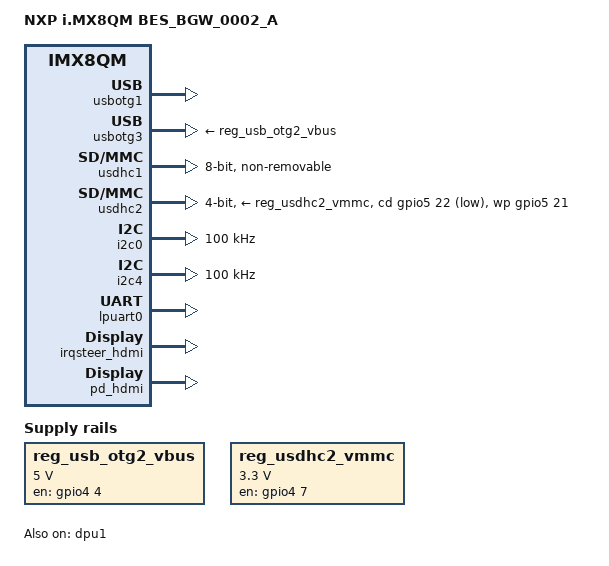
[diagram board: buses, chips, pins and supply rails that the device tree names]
// SPDX-License-Identifier: GPL-2.0+
/*
 * Copyright 2017-2018 NXP
 */

/dts-v1/;

#include "fsl-imx8qm.dtsi"

/ {
	model = "NXP i.MX8QM BES_BGW_0002_A";
	compatible = "fsl,imx8qm-BES_BGW_0002_A", "fsl,imx8qm";

//	aliases {
//		gpio8 = &max7322;
//	};

	chosen {
		bootargs = "console=ttyLP0,115200 earlycon";
		stdout-path = &lpuart0;
	};

//	alias {
//		gpio8 = <&gpio7>;
//	};
  //      leds {
//                compatible = "gpio-leds";
//                pinctrl-names = "default";
//                pinctrl-0 = <&pinctrl_led0>;
//                pinctrl-1 = <&pinctrl_led1>;
//                led0 {
//			vcc-supply = <&pinctrl_v38>;
//                        label = "led0";
 //                       gpios = <&gpio2 14 GPIO_ACTIVE_HIGH>;
//                        linux,default-trigger = "heartbeat";
//                        default-state = "on";
//                };
//                led1 {
//                        label = "led1";
//                        gpios = <&gpio2 15 GPIO_ACTIVE_HIGH>;
//                        default-state = "on";
//                };
//                cell_led {
//                        label = "cell_led";
//                        gpios = <&gpio2 17 GPIO_ACTIVE_HIGH>;
//                        default-state = "off";
//                };
//                wifi_led {
//                        label = "wifi_led";
//                        gpios = <&gpio2 19 GPIO_ACTIVE_HIGH>;
//                        default-state = "off";
//                        linux,default-trigger = "mmc2";
//                };
//                ble_led {
//                        label = "ble_led";
//                        gpios = <&gpio2 20 GPIO_ACTIVE_HIGH>;
//                        default-state = "off";
//                };
//                gps_led {
//                        label = "gps_led";
//                        gpios = <&gpio2 18 GPIO_ACTIVE_HIGH>;
//                        default-state = "off";
//                };
//                cell_reset {
//                        label = "cell_reset";
//                        gpios = <&gpio0 9 GPIO_ACTIVE_HIGH>;
//                        default-state = "on";
//                };
//       };
//
//	gpio {
//		compatible = "fsl,imx35-gpio";
//		gpio-controller;
//		#gpio-cells = <2>;
//		pinctrl-names = "default";
//		pinctrl-0 = <&pinctrl_hog>;
//		v5_0_per{
//			label = "V5_0_per";
//			enable-gpios = <&gpio2 24 GPIO_ACTIVE_HIGH>;
//			default-state = "on";
//			output-high;
//		};
//		v3_8_per{
//			label = "V3_8_per";
//			enable-gpios = <&gpio2 25 GPIO_ACTIVE_HIGH>;
//			default-state = "on";
//			output-high;
//		};
//		v3_3_per{
//			label = "V3_3_per";
//			enable-gpios = <&gpio2 26 GPIO_ACTIVE_HIGH>;
//			default-state = "on";
//			output-high;
//		};
//		wifi_vio_en{
//			label = "wifi_vio_en";
//			enable-gpios = <&gpio2 27 GPIO_ACTIVE_HIGH>;
//			default-state = "on";
//			output-high;
//		};
//		wifi_1v8_en{
//			label = "wifi_1v8_en";
//			enable-gpios = <&gpio2 28 GPIO_ACTIVE_HIGH>;
//			default-state = "on";
//			output-high;
//		};
//		wifi_vbat_en{
//			label = "wifi_vbat_en";
//			enable-gpios = <&gpio2 29 GPIO_ACTIVE_HIGH>;
//			default-state = "on";
//			output-high;
//		};
//		wifi_pdn{
//			label = "wifi_pdn";
//			enable-gpios = <&gpio2 06 GPIO_ACTIVE_HIGH>;
////			default-state = "on";
//			default-state = "off";
//			output-high;
//		};
//	};

	regulators {
		compatible = "simple-bus";
		#address-cells = <1>;
		#size-cells = <0>;

		reg_usb_otg2_vbus: regulator@0 {
			compatible = "regulator-fixed";
			reg = <0>;
			regulator-name = "usb_otg2_vbus";
			regulator-min-microvolt = <5000000>;
			regulator-max-microvolt = <5000000>;
			gpio = <&gpio4 4 GPIO_ACTIVE_HIGH>;
			enable-active-high;
		};

		reg_usdhc2_vmmc: usdhc2_vmmc {
			compatible = "regulator-fixed";
			regulator-name = "sw-3p3-sd1";
			regulator-min-microvolt = <3300000>;
			regulator-max-microvolt = <3300000>;
			gpio = <&gpio4 7 GPIO_ACTIVE_HIGH>;
			off-on-delay-us = <4800>;
			enable-active-high;
		};
	};
};

&iomuxc {
	pinctrl-names = "default";
	pinctrl-0 = <&pinctrl_hog>;

	imx8qm-BES_BGW_0002_A {
		pinctrl_hog: hoggrp{
			fsl,pins = <
				SC_P_M40_GPIO0_01_LSIO_GPIO0_IO09           0x00000020 /* CELL_RESET_3V3 */
				SC_P_USB_SS3_TC0_LSIO_GPIO4_IO03	0x06000048
				SC_P_LVDS0_I2C0_SCL_LSIO_GPIO1_IO06	0x06000021
				SC_P_LVDS0_I2C0_SDA_LSIO_GPIO1_IO07	0x06000021
				SC_P_QSPI1A_SS1_B_LSIO_GPIO4_IO20	0x06000021
				SC_P_QSPI1A_DATA2_LSIO_GPIO4_IO24	0x06000021
				SC_P_QSPI1A_DATA3_LSIO_GPIO4_IO23	0x06000021
				SC_P_ESAI0_SCKR_LSIO_GPIO2_IO24         0x00000060
				SC_P_ESAI0_SCKT_LSIO_GPIO2_IO25         0x00000060
				SC_P_ESAI0_TX0_LSIO_GPIO2_IO26          0x00000060
			>;
		};

		pinctrl_adc: adcgrp {
			fsl,pins = <
				SC_P_ADC_IN0_DMA_ADC0_IN0               0xc0000060
				SC_P_ADC_IN1_DMA_ADC0_IN1               0xc0000060
				SC_P_ADC_IN2_DMA_ADC0_IN2               0xc0000060
				SC_P_ADC_IN3_DMA_ADC0_IN3               0xc0000060
				SC_P_ADC_IN4_DMA_ADC1_IN0               0xc0000060
				SC_P_ADC_IN5_DMA_ADC1_IN1               0xc0000060
				SC_P_ADC_IN6_DMA_ADC1_IN2               0xc0000060
				SC_P_ADC_IN7_DMA_ADC1_IN3		0xc0000060
			>;
		};

		pinctrl_gpio0: gpio0 {
			fsl,pins = <
				SC_P_GPT0_CAPTURE_LSIO_GPIO0_IO15		0x00000060 /* CELL_DSR_MPU */
				SC_P_GPT0_CLK_LSIO_GPIO0_IO14               0x00000060 /* CELL_ON */
				SC_P_GPT0_COMPARE_LSIO_GPIO0_IO16           0x00000060 /* CELL_RI_MPU */
				SC_P_GPT1_CAPTURE_LSIO_GPIO0_IO18           0x00000060 /* CELL_DTR_MPU */
				SC_P_GPT1_CLK_LSIO_GPIO0_IO17               0x00000060 /* CELL_DCD_MPU */
				SC_P_GPT1_COMPARE_LSIO_GPIO0_IO19           0x00000060 /* FAN_PWM */
				SC_P_M40_GPIO0_00_LSIO_GPIO0_IO08           0x00000060 /* CELL_PWR_ON_3V3 */
//				SC_P_M40_GPIO0_01_LSIO_GPIO0_IO09           0x00000020 /* CELL_RESET_3V3 */
//				SC_P_SCU_GPIO0_00_LSIO_GPIO0_IO28           0x00000063 /* PMIC1_PGOOD */
//				SC_P_SCU_GPIO0_01_LSIO_GPIO0_IO29           0x00000063 /* PMIC2_PGOOD */
//				SC_P_SCU_GPIO0_02_LSIO_GPIO0_IO30           0x00000063 /* BOOT_LED */
			>;
        	};

	        pinctrl_gpio1: gpio1 {
			fsl,pins = <
                		SC_P_SCU_GPIO0_04_LSIO_GPIO1_IO00           0x00000063 /* PMIC_ON */
			>;
        	};

		pinctrl_led0: led0grp{
			fsl,pins = <
				SC_P_SPDIF0_RX_LSIO_GPIO2_IO14              0x00000060
			>;
		};

		pinctrl_led1: led1grp{
			fsl,pins = <
				SC_P_SPDIF0_TX_LSIO_GPIO2_IO15              0x00000060
			>;
		};

//	        pinctrl_v50: v50grp{
//			fsl,pins = <
//				SC_P_ESAI0_SCKR_LSIO_GPIO2_IO24             0x00000060
//			>;
//		};
//
//	        pinctrl_v38: v38grp{
//			fsl,pins = <
//				SC_P_ESAI0_SCKT_LSIO_GPIO2_IO25             0x00000060
//			>;
//		};
//
//	        pinctrl_v33: v33grp{
//			fsl,pins = <
//				SC_P_ESAI0_TX0_LSIO_GPIO2_IO26              0x00000060
//			>;
//		};
//
	        pinctrl_gpio2: gpio2 {
			fsl,pins = <
	                	SC_P_SPDIF0_RX_LSIO_GPIO2_IO14              0x00000040
			        SC_P_SPDIF0_TX_LSIO_GPIO2_IO15              0x00000040
        	        	SC_P_SPI3_CS0_LSIO_GPIO2_IO20               0x00000040
	                	SC_P_SPI3_SCK_LSIO_GPIO2_IO17               0x00000040
		                SC_P_SPI3_SDI_LSIO_GPIO2_IO19               0x00000040
        		        SC_P_SPI3_SDO_LSIO_GPIO2_IO18               0x00000040
	                	SC_P_ESAI0_FSR_LSIO_GPIO2_IO22              0x00000060
		                SC_P_ESAI0_FST_LSIO_GPIO2_IO23              0x00000060
//        		        SC_P_ESAI0_SCKR_LSIO_GPIO2_IO24             0x00000060
//	                	SC_P_ESAI0_SCKT_LSIO_GPIO2_IO25             0x00000060
//		                SC_P_ESAI0_TX0_LSIO_GPIO2_IO26              0x00000060
        		        SC_P_ESAI0_TX1_LSIO_GPIO2_IO27              0x00000060
	                	SC_P_ESAI0_TX2_RX3_LSIO_GPIO2_IO28          0x00000060
		                SC_P_ESAI0_TX3_RX2_LSIO_GPIO2_IO29          0x00000060
        		        SC_P_ESAI0_TX5_RX0_LSIO_GPIO2_IO31          0x00000060
	                	SC_P_ESAI1_FSR_LSIO_GPIO2_IO04              0x00000060
		                SC_P_ESAI1_FST_LSIO_GPIO2_IO05              0x00000060
        		        SC_P_ESAI1_SCKR_LSIO_GPIO2_IO06             0x00000060
	                	SC_P_ESAI1_SCKT_LSIO_GPIO2_IO07             0x00000060
		                SC_P_ESAI1_TX0_LSIO_GPIO2_IO08              0x00000060
        		        SC_P_ESAI1_TX1_LSIO_GPIO2_IO09              0x00000060
	                	SC_P_ESAI1_TX2_RX3_LSIO_GPIO2_IO10          0x00000060
			>;
        	};

	        pinctrl_gpio3: gpio3 {
        	    fsl,pins = <
                	SC_P_MCLK_OUT0_LSIO_GPIO3_IO01              0x00000060
	            >;
        	};

	        pinctrl_gpio4: gpio4 {
        	    fsl,pins = <
                	SC_P_ENET1_MDC_LSIO_GPIO4_IO18              0x00000060
	                SC_P_ENET1_MDIO_LSIO_GPIO4_IO17             0x00000060
        	    >;
	        };

		pinctrl_gnss_reset: gnssresetgrp {
		    fsl,pins = <
   			    SC_P_ESAI0_FST_LSIO_GPIO2_IO23              0x00000060
		    >;
 		};

		pinctrl_gnss_dir: gnssdirgrp {
		    fsl,pins = <
			    SC_P_ESAI0_FSR_LSIO_GPIO2_IO22              0x00000060
		    >;
		};

	        pinctrl_flexcan1: flexcan1grp {
        	    fsl,pins = <
                	SC_P_FLEXCAN0_RX_DMA_FLEXCAN0_RX            0x00000021
	                SC_P_FLEXCAN0_TX_DMA_FLEXCAN0_TX            0x00000021
        	        SC_P_FLEXCAN2_TX_LSIO_GPIO4_IO02            0x00000040
	            >;
        	};

	        pinctrl_flexcan2: flexcan2grp {
        	    fsl,pins = <
                	SC_P_FLEXCAN1_RX_DMA_FLEXCAN1_RX            0x00000021
	                SC_P_FLEXCAN1_TX_DMA_FLEXCAN1_TX            0x00000021
        	        SC_P_FLEXCAN2_RX_LSIO_GPIO4_IO01            0x00000040
	            >;
        	};

	        pinctrl_i2c0: i2c0grp {
        	    fsl,pins = <
                	SC_P_HDMI_TX0_TS_SCL_DMA_I2C0_SCL           0x06000021
	                SC_P_HDMI_TX0_TS_SDA_DMA_I2C0_SDA           0x06000021
        	    >;
	        };

        	pinctrl_i2c4: i2c4grp {
	            fsl,pins = <
        	        SC_P_ENET0_MDC_DMA_I2C4_SCL                 0x06000020
                	SC_P_ENET0_MDIO_DMA_I2C4_SDA                0x06000020
	            >;
        	};

	        pinctrl_lpuart0: lpuart0grp {
        	    fsl,pins = <
                	SC_P_UART0_RX_DMA_UART0_RX                  0x06000020
	                SC_P_UART0_TX_DMA_UART0_TX                  0x06000020
        	    >;
	        };

		pinctrl_typec: typecgrp {
        	    fsl,pins = <
	                SC_P_QSPI1A_SS0_B_LSIO_GPIO4_IO19	0x60
        	        SC_P_USB_SS3_TC3_LSIO_GPIO4_IO06	0x60
                	SC_P_QSPI1A_DATA0_LSIO_GPIO4_IO26	0x00000021
	            >;
		};

	        pinctrl_usbotg2: usbotg2 {
        	    fsl,pins = <
                	SC_P_USB_SS3_TC1_CONN_USB_OTG2_PWR
	            >;
        	};

	        pinctrl_lpuart1: lpuart1grp {
        	    fsl,pins = <
                	SC_P_UART1_CTS_B_DMA_UART1_CTS_B            0x06000020
	                SC_P_UART1_RTS_B_DMA_UART1_RTS_B            0x06000020
        	        SC_P_UART1_RX_DMA_UART1_RX                  0x06000020
                	SC_P_UART1_TX_DMA_UART1_TX                  0x06000020
	            >;
        	};

	        pinctrl_bt_uart: bt_uartgrp {
        	    fsl,pins = <
                	SC_P_ENET0_RGMII_RXD3_DMA_UART3_RX          0x00000020
	                SC_P_ENET0_RGMII_TXD2_DMA_UART3_TX          0x00000020
        	        SC_P_ENET0_RGMII_TXD3_DMA_UART3_RTS_B       0x06000020
                	SC_P_ENET0_RGMII_RXC_DMA_UART3_CTS_B        0x06000020
	            >;
        	};

	        pinctrl_usdhc1: usdhc1grp {
        	    fsl,pins = <
                	SC_P_EMMC0_CLK_CONN_EMMC0_CLK               0x06000041
	                SC_P_EMMC0_CMD_CONN_EMMC0_CMD               0x00000021
        	        SC_P_EMMC0_DATA0_CONN_EMMC0_DATA0           0x00000021
                	SC_P_EMMC0_DATA1_CONN_EMMC0_DATA1           0x00000021
	                SC_P_EMMC0_DATA2_CONN_EMMC0_DATA2           0x00000021
        	        SC_P_EMMC0_DATA3_CONN_EMMC0_DATA3           0x00000021
                	SC_P_EMMC0_DATA4_CONN_EMMC0_DATA4           0x00000021
	                SC_P_EMMC0_DATA5_CONN_EMMC0_DATA5           0x00000021
        	        SC_P_EMMC0_DATA6_CONN_EMMC0_DATA6           0x00000021
                	SC_P_EMMC0_DATA7_CONN_EMMC0_DATA7           0x00000021
	                SC_P_EMMC0_RESET_B_CONN_EMMC0_RESET_B       0x00000021
        	        SC_P_EMMC0_STROBE_CONN_EMMC0_STROBE         0x00000041
	            >;	
        	};

	        pinctrl_usdhc2: usdhc2grp {
        	    fsl,pins = <
                	SC_P_USDHC1_CLK_CONN_USDHC1_CLK             0x06000041
	                SC_P_USDHC1_CMD_CONN_USDHC1_CMD             0x00000021
        	        SC_P_USDHC1_DATA0_CONN_USDHC1_DATA0         0x00000021
                	SC_P_USDHC1_DATA1_CONN_USDHC1_DATA1         0x00000021
	                SC_P_USDHC1_DATA2_CONN_USDHC1_DATA2         0x00000021
        	        SC_P_USDHC1_DATA3_CONN_USDHC1_DATA3         0x00000021
                	SC_P_USDHC1_VSELECT_CONN_USDHC1_VSELECT     0x00000021
	            >;
        	};

	        pinctrl_usdhc2_gpio: usdhc2gpiogrp {
        	    fsl,pins = <
                	SC_P_USDHC1_DATA6_LSIO_GPIO5_IO21           0x00000021
	                SC_P_USDHC1_DATA7_LSIO_GPIO5_IO22           0x00000021
        	        SC_P_USDHC1_RESET_B_LSIO_GPIO4_IO07         0x00000021
	            >;
        	};

	        pinctrl_usdhc3: usdhc3grp {
        	    fsl,pins = <
                	SC_P_USDHC2_CLK_CONN_USDHC2_CLK             0x00000040
	                SC_P_USDHC2_CMD_CONN_USDHC2_CMD             0x00000040
        	        SC_P_USDHC2_DATA0_CONN_USDHC2_DATA0         0x00000020
                	SC_P_USDHC2_DATA1_CONN_USDHC2_DATA1         0x00000020
	                SC_P_USDHC2_DATA2_CONN_USDHC2_DATA2         0x00000020
        	        SC_P_USDHC2_DATA3_CONN_USDHC2_DATA3         0x00000020
	            >;
        	};
	};
};

&gpio0 {
	status = "okay";
};

&gpio1 {
	status = "okay";
};

&gpio2 {
	status = "okay";
};

&gpio4 {
	status = "okay";
};

&gpio5 {
	status = "okay";
};

&usbotg1 {
         status = "okay";
};

&usbotg3 {
         vbus-supply = <&reg_usb_otg2_vbus>;
         srp-disable;
         hnp-disable;
         adp-disable;
         disable-over-current;
         status = "okay";
};

&usdhc1 {
	pinctrl-names = "default", "state_100mhz", "state_200mhz";
	pinctrl-0 = <&pinctrl_usdhc1>;
	pinctrl-1 = <&pinctrl_usdhc1>;
	pinctrl-2 = <&pinctrl_usdhc1>;
	bus-width = <8>;
	non-removable;
	status = "okay";
};

&usdhc2 {
	pinctrl-names = "default", "state_100mhz", "state_200mhz";
	pinctrl-0 = <&pinctrl_usdhc2>, <&pinctrl_usdhc2_gpio>;
	pinctrl-1 = <&pinctrl_usdhc2>, <&pinctrl_usdhc2_gpio>;
	pinctrl-2 = <&pinctrl_usdhc2>, <&pinctrl_usdhc2_gpio>;
	bus-width = <4>;
	cd-gpios = <&gpio5 22 GPIO_ACTIVE_LOW>;
	wp-gpios = <&gpio5 21 GPIO_ACTIVE_HIGH>;
	vmmc-supply = <&reg_usdhc2_vmmc>;
	status = "okay";
};

&i2c0 {
	#address-cells = <1>;
	#size-cells = <0>;
	clock-frequency = <100000>;
	pinctrl-names = "default";
	pinctrl-0 = <&pinctrl_i2c0>;
	status = "okay";

//	/* U-Blox NEO-M8L GNSS (Does the NEO-M8 driver work for this?) */
//	gnss@42 {
//		compatible = "u-blox,neo-m8", "fsl,imx35-gpio";
//		reg = <0x42>; // reg = DDC (i2c) slave address
//		vcc-supply = <&pinctrl_v33>;
//
//		gpio-controller;
//		#gpio-cells = <2>;
//		pinctrl-0 = <&pinctrl_gnss_reset>;
//		pinctrl-1 = <&pinctrl_gnss_dir>;
//		reset-gpios = <&pinctrl_gnss_reset>;
//	};
};

&i2c1 {
	status = "disabled";
};

&i2c2 {
	status = "disabled";
};

&i2c3 {
	status = "disabled";
};

&i2c4 {
	#address-cells = <1>;
	#size-cells = <0>;
	clock-frequency = <100000>;
	pinctrl-names = "default", "gpio";
	pinctrl-0 = <&pinctrl_i2c4>;
	status = "okay";
	
	/* The lsm6dsl uses the lsm6dsx driver */
//	lsm6dsl@6b{
//		compatible = "st,lsm6dsl";
//		reg = <0x6B>;
//		interrupt-parent = <&gpio4>;
//		interrupts = <17 IRQ_TYPE_LEVEL_HIGH>, <18 IRQ_TYPE_LEVEL_HIGH>;
//	};
};

&lpuart0 { /* console */
	pinctrl-names = "default";
	pinctrl-0 = <&pinctrl_lpuart0>;
	status = "okay";
};

//&lpuart1 { /* cell */
//	pinctrl-names = "default";
//	pinctrl-0 = <&pinctrl_lpuart1>;
//	status = "okay";
//};

//&lpuart3 { /* bt */
//	pinctrl-names = "default";
//	pinctrl-0 = <&pinctrl_bt_uart>;
//	status = "okay";
//};

&tsens {
	tsens-num = <6>;
};

&thermal_zones {
	pmic-thermal0 {
		polling-delay-passive = <250>;
		polling-delay = <2000>;
		thermal-sensors = <&tsens 5>;
		trips {
			pmic_alert0: trip0 {
				temperature = <110000>;
				hysteresis = <2000>;
				type = "passive";
			};
			pmic_crit0: trip1 {
				temperature = <125000>;
				hysteresis = <2000>;
				type = "critical";
			};
		};
		cooling-maps {
			map0 {
				trip = <&pmic_alert0>;
				cooling-device =
				<&A53_0 THERMAL_NO_LIMIT THERMAL_NO_LIMIT>;
			};
			map1 {
				trip = <&pmic_alert0>;
				cooling-device =
				<&A72_0 THERMAL_NO_LIMIT THERMAL_NO_LIMIT>;
			};
		};
	};
};

&dpu1 {
	status = "okay";
};

&ldb1_phy {
	status = "disabled";
};

&ldb1 {
	status = "disabled";
};

&ldb2_phy {
	status = "disabled";
};

&ldb2 {
	status = "disabled";
};

//&mipi0_dsi_host {
//	status = "disabled";
//};

//&mipi0_dphy {
//	status = "disabled";
//};

//&mipi1_dsi_host {
//	status = "disabled";
//};

//&mipi1_dphy {
//	status = "disabled";
//};

//&sai5 {
//	status = "okay";
//};

//&sai5_lpcg {
//	status = "okay";
//};

//&spdif1 {
//	status = "okay";
//};

//&spdif1_lpcg {
//	status = "okay";
//};

&irqsteer_hdmi {
        status = "okay";
};

//&hdmi_lpcg_i2c0 {
//        status = "okay";
//};

//&hdmi_lpcg_lis_ipg {
//        status = "okay";
//};

//&hdmi_lpcg_pwm_ipg {
//        status = "okay";
//};

//&hdmi_lpcg_i2s {
//        status = "okay";
//};

//&hdmi_lpcg_gpio_ipg {
//        status = "okay";
//};

//&hdmi_lpcg_msi_hclk {
//        status = "okay";
//};

//&hdmi_lpcg_pxl {
//        status = "okay";
//};
&pd_lvds0 {
	status = "disabled";
};
&pd_lvds1 {
	status = "disable";
};
&pd_hdmi {
	status = "okay";
};
&pd_mipi1 {
	status = "disabled";
};
&pd_isi_ch0 {
	status = "disabled";
};

&dpu1 {
	status = "okay";
};

